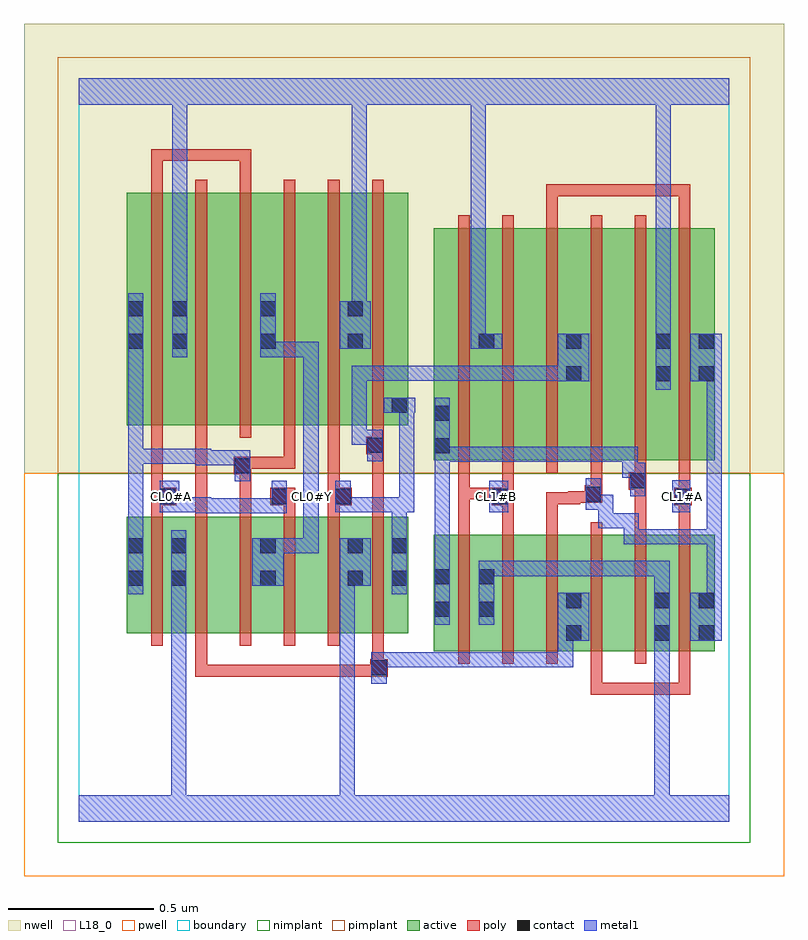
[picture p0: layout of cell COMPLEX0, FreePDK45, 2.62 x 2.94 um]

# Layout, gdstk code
import gdstk
lib = gdstk.Library(unit=1e-6, precision=1e-09)
def R(c, l, rs):  # rectangles x0, y0, x1, y1
    for r in rs: c.add(gdstk.rectangle(r[:2], r[2:], *l))
def A(c, l, x, y, w, h, nx, ny, dx, dy):  # array of equal rectangles
    R(c, l, [(x+i*dx, y+j*dy, x+i*dx+w, y+j*dy+h) for i in range(nx) for j in range(ny)])
active = (1, 0)
pwell = (2, 0)
nwell = (3, 0)
nimplant = (4, 0)
pimplant = (5, 0)
poly = (9, 0)
contact = (10, 0)
metal1 = (11, 0)
L18_0 = (18, 0)
boundary = (235, 0)

complex0 = lib.new_cell('COMPLEX0')
R(complex0, active, [(1.222,0.588,1.282,0.988), (1.222,0.588,1.434,0.988), (1.374,0.588,1.434,0.988), (1.374,0.588,1.554,0.988), (1.554,0.588,1.734,0.988), (1.674,0.588,1.734,0.988), (1.674,0.588,1.858,0.988), (1.858,0.588,2.038,0.988), (1.978,0.588,2.038,0.988), (1.978,0.588,2.19,0.988), (2.13,0.588,2.19,0.988), (0.166,0.65,0.226,1.05), (0.166,0.65,0.374,1.05), (0.314,0.65,0.374,1.05), (0.314,0.65,0.498,1.05), (0.498,0.65,0.682,1.05), (0.622,0.65,0.682,1.05), (0.622,0.65,0.802,1.05), (0.802,0.65,0.982,1.05), (0.922,0.65,0.982,1.05), (0.922,0.65,1.134,1.05), (1.074,0.756,1.134,1.05), (1.222,1.244,1.282,2.044), (1.222,1.244,1.434,2.044), (1.374,1.244,1.554,2.044), (1.554,1.244,1.734,2.044), (1.674,1.244,1.734,2.044), (1.674,1.244,1.858,2.044), (1.858,1.244,2.042,2.044), (1.982,1.244,2.042,2.044), (1.982,1.244,2.19,2.044), (2.13,1.244,2.19,2.044), (0.166,1.366,0.226,2.166), (0.166,1.366,0.378,2.166), (0.318,1.366,0.498,2.166), (0.318,1.366,0.378,2.044), (0.498,1.366,0.682,2.166), (0.622,1.366,0.802,2.166), (0.622,1.366,0.682,2.044), (0.802,1.366,0.982,2.166), (0.922,1.366,1.134,2.166), (0.922,1.366,0.982,2.044), (1.074,1.366,1.134,2.044), (1.374,1.58,1.434,2.044)])
R(complex0, pwell, [(-0.188,-0.188,2.428,1.2)])
R(complex0, nwell, [(-0.188,1.2,2.428,2.748)])
R(complex0, nimplant, [(-0.072,-0.072,2.312,1.2)])
R(complex0, pimplant, [(-0.072,1.2,2.312,2.632)])
A(complex0, poly, 1.306, 0.544, 0.04, 0.488, 6, 1, 0.152, 0)
A(complex0, poly, 0.25, 0.606, 0.04, 0.488, 6, 1, 0.152, 0)
A(complex0, poly, 1.306, 1.2, 0.04, 0.888, 6, 1, 0.152, 0)
A(complex0, poly, 0.25, 1.322, 0.04, 0.888, 6, 1, 0.152, 0)
R(complex0, poly, [(1.762,0.438,1.802,0.584), (1.762,0.438,1.802,0.478), (1.762,0.438,1.984,0.478), (1.944,0.438,1.984,0.478), (1.944,0.438,1.984,0.478), (1.944,0.438,1.984,0.478), (1.944,0.438,2.106,0.478), (2.066,0.438,2.106,0.584), (2.066,0.438,2.106,0.478), (2.066,0.438,2.106,0.478), (2.066,0.438,2.106,0.478), (0.402,0.5,0.442,0.646), (0.402,0.5,0.442,0.54), (0.402,0.5,0.442,0.54), (0.402,0.5,0.442,0.54), (0.402,0.5,0.548,0.54), (0.508,0.5,0.548,0.54), (0.508,0.5,0.792,0.54), (0.752,0.5,0.792,0.54), (0.752,0.5,0.792,0.54), (0.752,0.5,0.792,0.54), (0.752,0.5,0.924,0.54), (0.884,0.5,0.924,0.54), (0.884,0.5,0.924,0.54), (0.884,0.5,0.924,0.54), (0.884,0.5,1.044,0.54), (1.004,0.5,1.044,0.54), (1.004,0.5,1.044,0.54), (1.004,0.5,1.064,0.56), (1.01,0.52,1.05,0.646), (1.306,0.992,1.346,1.15), (1.458,0.992,1.498,1.13), (1.61,0.992,1.65,1.134), (1.914,0.992,1.954,1.184), (2.066,0.992,2.106,1.13), (0.25,1.054,0.29,1.13), (0.402,1.054,0.442,1.326), (0.554,1.054,0.594,1.236), (0.706,1.054,0.746,1.13), (0.858,1.054,0.898,1.13), (1.01,1.054,1.05,1.306), (0.25,1.09,0.336,1.15), (0.66,1.09,0.746,1.15), (0.858,1.09,0.94,1.15), (1.422,1.09,1.498,1.15), (2.05,1.09,2.11,1.15), (2.066,1.09,2.106,1.13), (2.066,1.09,2.106,1.13), (1.61,1.094,1.65,1.134), (1.61,1.094,1.726,1.134), (1.686,1.094,1.726,1.138), (1.686,1.098,1.782,1.138), (1.742,1.098,1.802,1.158), (0.25,1.11,0.29,1.15), (0.25,1.11,0.29,1.15), (0.25,1.11,0.29,1.362), (0.858,1.11,0.898,1.15), (0.858,1.11,0.898,1.15), (0.858,1.11,0.898,1.362), (1.306,1.11,1.346,1.15), (1.306,1.11,1.346,1.15), (1.306,1.11,1.346,1.15), (1.306,1.11,1.346,1.24), (1.306,1.11,1.462,1.15), (1.422,1.11,1.462,1.15), (1.422,1.11,1.462,1.15), (1.458,1.11,1.498,1.15), (1.458,1.11,1.498,1.15), (1.458,1.11,1.498,1.24), (2.066,1.11,2.106,1.24), (1.762,1.118,1.802,1.158), (1.762,1.118,1.802,1.158), (1.762,1.118,1.802,1.24), (1.894,1.144,1.954,1.204), (1.914,1.144,1.954,1.184), (1.914,1.144,1.954,1.184), (1.914,1.164,1.954,1.24), (0.534,1.196,0.594,1.256), (0.554,1.196,0.594,1.236), (0.554,1.196,0.594,1.236), (0.554,1.216,0.746,1.256), (0.706,1.216,0.746,1.362), (0.706,1.216,0.746,1.256), (0.706,1.216,0.746,1.256), (0.706,1.216,0.746,1.256), (0.99,1.266,1.05,1.326), (1.01,1.266,1.05,1.306), (1.01,1.266,1.05,1.306), (0.402,1.286,0.442,1.326), (0.402,1.286,0.442,1.326), (0.402,1.286,0.442,1.326), (0.402,1.286,0.442,1.362), (1.01,1.286,1.05,1.362), (1.61,2.048,1.65,2.194), (2.066,2.048,2.106,2.194), (1.61,2.154,1.65,2.194), (1.61,2.154,1.65,2.194), (1.61,2.154,1.65,2.194), (1.61,2.154,1.828,2.194), (1.788,2.154,1.828,2.194), (1.788,2.154,1.984,2.194), (1.944,2.154,1.984,2.194), (1.944,2.154,1.984,2.194), (1.944,2.154,1.984,2.194), (1.944,2.154,2.106,2.194), (2.066,2.154,2.106,2.194), (2.066,2.154,2.106,2.194), (2.066,2.154,2.106,2.194), (0.25,2.17,0.29,2.316), (0.554,2.17,0.594,2.316), (0.25,2.276,0.29,2.316), (0.25,2.276,0.29,2.316), (0.25,2.276,0.29,2.316), (0.25,2.276,0.396,2.316), (0.356,2.276,0.396,2.316), (0.356,2.276,0.594,2.316), (0.554,2.276,0.594,2.316), (0.554,2.276,0.594,2.316), (0.554,2.276,0.594,2.316)])
R(complex0, contact, [(1.008,0.504,1.06,0.556), (1.678,0.624,1.73,0.676), (1.982,0.624,2.034,0.676), (2.134,0.624,2.186,0.676), (1.226,0.706,1.278,0.758), (1.378,0.706,1.43,0.758), (1.678,0.736,1.73,0.788), (1.982,0.736,2.034,0.788), (2.134,0.736,2.186,0.788), (0.17,0.812,0.222,0.864), (0.318,0.812,0.37,0.864), (0.626,0.812,0.678,0.864), (0.926,0.812,0.978,0.864), (1.078,0.812,1.13,0.864), (1.226,0.818,1.278,0.87), (1.378,0.818,1.43,0.87), (0.17,0.924,0.222,0.976), (0.318,0.924,0.37,0.976), (0.626,0.924,0.678,0.976), (0.926,0.924,0.978,0.976), (1.078,0.924,1.13,0.976), (0.28,1.094,0.332,1.146), (0.664,1.094,0.716,1.146), (0.884,1.094,0.936,1.146), (1.426,1.094,1.478,1.146), (2.054,1.094,2.106,1.146), (1.746,1.102,1.798,1.154), (1.898,1.148,1.95,1.2), (0.538,1.2,0.59,1.252), (1.226,1.268,1.278,1.32), (0.994,1.27,1.046,1.322), (1.226,1.38,1.278,1.432), (1.078,1.408,1.13,1.46), (1.678,1.516,1.73,1.568), (1.986,1.516,2.038,1.568), (2.134,1.516,2.186,1.568), (0.17,1.628,0.222,1.68), (0.322,1.628,0.374,1.68), (0.626,1.628,0.678,1.68), (0.926,1.628,0.978,1.68), (1.378,1.628,1.43,1.68), (1.678,1.628,1.73,1.68), (1.986,1.628,2.038,1.68), (2.134,1.628,2.186,1.68), (0.17,1.74,0.222,1.792), (0.322,1.74,0.374,1.792), (0.626,1.74,0.678,1.792), (0.926,1.74,0.978,1.792)])
A(complex0, metal1, 0.664, 1.066, 0.052, 0.108, 3, 1, 0.11, 0)
R(complex0, metal1, [(0,0,2.24,0.092), (0.318,0.04,0.37,0.092), (0.318,0.04,0.37,0.092), (0.318,0.04,0.37,0.092), (0.318,0.04,0.37,0.092), (0.318,0.04,0.37,0.092), (0.318,0.04,0.37,0.092), (0.318,0.04,0.37,0.092), (0.318,0.04,0.37,0.092), (0.318,0.04,0.37,0.092), (0.318,0.04,0.37,0.092), (0.318,0.04,0.37,0.092), (0.318,0.04,0.37,0.092), (0.318,0.04,0.37,0.836), (0.898,0.04,0.95,0.092), (0.898,0.04,0.95,0.092), (0.898,0.04,0.95,0.092), (0.898,0.04,0.95,0.092), (0.898,0.04,0.95,0.092), (0.898,0.04,0.95,0.092), (0.898,0.04,0.95,0.092), (0.898,0.04,0.95,0.092), (0.898,0.04,0.95,0.092), (0.898,0.04,0.95,0.092), (0.898,0.04,0.95,0.092), (0.898,0.04,0.95,0.092), (0.898,0.04,0.95,0.864), (1.982,0.04,2.034,0.648), (1.008,0.476,1.06,0.584), (1.008,0.532,1.158,0.584), (1.106,0.532,1.158,0.584), (1.106,0.532,1.268,0.584), (1.216,0.532,1.268,0.584), (1.216,0.532,1.268,0.584), (1.216,0.532,1.268,0.584), (1.216,0.532,1.43,0.584), (1.378,0.532,1.43,0.584), (1.378,0.532,1.43,0.584), (1.378,0.532,1.43,0.584), (1.378,0.532,1.54,0.584), (1.488,0.532,1.54,0.584), (1.488,0.532,1.54,0.584), (1.488,0.532,1.54,0.584), (1.488,0.532,1.702,0.584), (1.65,0.532,1.702,0.584), (1.65,0.532,1.702,0.676), (1.982,0.596,2.034,0.648), (1.982,0.596,2.034,0.648), (1.982,0.596,2.034,0.648), (1.982,0.596,2.034,0.648), (1.982,0.596,2.034,0.648), (1.982,0.596,2.034,0.648), (1.982,0.596,2.034,0.648), (1.982,0.596,2.034,0.648), (1.982,0.596,2.034,0.648), (1.982,0.596,2.034,0.648), (1.982,0.596,2.034,0.648), (1.982,0.596,2.034,0.648), (1.982,0.596,2.034,0.816), (1.65,0.624,1.758,0.788), (2.106,0.624,2.214,0.788), (1.226,0.678,1.278,0.898), (1.378,0.678,1.43,0.898), (2.162,0.736,2.214,1.008), (1.982,0.764,2.034,0.816), (1.982,0.764,2.034,0.816), (1.982,0.764,2.034,0.816), (1.982,0.764,2.034,0.816), (1.982,0.764,2.034,0.898), (0.17,0.784,0.222,1.004), (0.318,0.784,0.37,1.004), (1.078,0.784,1.13,1.004), (0.598,0.812,0.706,0.976), (0.898,0.812,1.006,0.976), (1.226,0.846,1.278,1.292), (1.378,0.846,1.43,0.898), (1.378,0.846,1.43,0.898), (1.378,0.846,1.588,0.898), (1.536,0.846,1.588,0.898), (1.536,0.846,1.588,0.898), (1.536,0.846,1.588,0.898), (1.536,0.846,1.73,0.898), (1.678,0.846,1.73,0.898), (1.678,0.846,1.73,0.898), (1.678,0.846,1.73,0.898), (1.678,0.846,1.924,0.898), (1.872,0.846,1.924,0.898), (1.872,0.846,1.924,0.898), (1.872,0.846,1.924,0.898), (1.872,0.846,2.034,0.898), (1.982,0.846,2.034,0.898), (0.654,0.924,0.706,0.976), (0.654,0.924,0.706,0.976), (0.654,0.924,0.826,0.976), (0.774,0.924,0.826,0.976), (0.774,0.924,0.826,1.118), (0.17,0.952,0.222,1.004), (0.17,0.952,0.222,1.004), (0.17,0.952,0.222,1.284), (1.078,0.952,1.13,1.118), (1.876,0.956,2.048,1.008), (1.876,0.956,1.928,1.062), (1.996,0.956,2.048,1.008), (1.996,0.956,2.214,1.008), (2.162,0.956,2.214,1.568), (2.162,0.956,2.214,1.008), (2.162,0.956,2.214,1.008), (2.162,0.956,2.214,1.008), (2.162,0.956,2.214,1.008), (2.162,0.956,2.214,1.008), (1.788,1.01,1.84,1.126), (1.788,1.01,1.928,1.062), (0.404,1.062,0.456,1.114), (0.404,1.062,0.456,1.114), (0.404,1.062,0.566,1.114), (0.404,1.062,0.456,1.118), (0.514,1.062,0.566,1.114), (0.514,1.062,0.716,1.114), (0.664,1.062,0.716,1.118), (0.28,1.066,0.346,1.174), (0.294,1.066,0.346,1.118), (0.294,1.066,0.346,1.118), (0.294,1.066,0.456,1.118), (0.664,1.066,0.716,1.118), (0.884,1.066,0.936,1.118), (0.884,1.066,0.936,1.118), (0.884,1.066,1.13,1.118), (1.078,1.066,1.13,1.118), (1.078,1.066,1.13,1.118), (1.078,1.066,1.156,1.118), (1.104,1.066,1.156,1.118), (1.104,1.066,1.156,1.118), (1.104,1.066,1.156,1.46), (1.414,1.066,1.478,1.174), (2.044,1.066,2.106,1.176), (1.746,1.074,1.798,1.182), (1.746,1.074,1.84,1.126), (1.898,1.12,1.95,1.236), (0.774,1.122,0.826,1.652), (0.538,1.172,0.59,1.28), (1.872,1.184,1.95,1.236), (1.872,1.184,1.924,1.292), (0.404,1.228,0.456,1.284), (0.404,1.228,0.59,1.28), (0.17,1.232,0.222,1.284), (0.17,1.232,0.222,1.284), (0.17,1.232,0.222,1.284), (0.17,1.232,0.332,1.284), (0.17,1.232,0.222,1.652), (0.28,1.232,0.332,1.284), (0.28,1.232,0.456,1.284), (0.404,1.232,0.456,1.284), (0.404,1.232,0.456,1.284), (1.226,1.24,1.278,1.292), (1.226,1.24,1.278,1.292), (1.226,1.24,1.278,1.292), (1.226,1.24,1.278,1.292), (1.226,1.24,1.278,1.292), (1.226,1.24,1.278,1.292), (1.226,1.24,1.278,1.46), (1.226,1.24,1.388,1.292), (1.336,1.24,1.388,1.292), (1.336,1.24,1.388,1.292), (1.336,1.24,1.388,1.292), (1.336,1.24,1.55,1.292), (1.498,1.24,1.55,1.292), (1.498,1.24,1.55,1.292), (1.498,1.24,1.55,1.292), (1.498,1.24,1.73,1.292), (1.678,1.24,1.73,1.292), (1.678,1.24,1.73,1.292), (1.678,1.24,1.73,1.292), (1.678,1.24,1.924,1.292), (0.994,1.242,1.046,1.35), (0.94,1.298,0.992,1.35), (0.94,1.298,0.992,1.57), (0.94,1.298,1.046,1.35), (1.05,1.408,1.158,1.46), (1.986,1.488,2.038,1.708), (1.65,1.516,1.758,1.68), (2.106,1.516,2.214,1.68), (0.94,1.518,0.992,1.57), (0.94,1.518,0.992,1.57), (0.94,1.518,0.992,1.57), (0.94,1.518,1.116,1.57), (1.064,1.518,1.116,1.57), (1.064,1.518,1.116,1.57), (1.064,1.518,1.116,1.57), (1.064,1.518,1.268,1.57), (1.216,1.518,1.268,1.57), (1.216,1.518,1.268,1.57), (1.216,1.518,1.268,1.57), (1.216,1.518,1.43,1.57), (1.378,1.518,1.43,1.57), (1.378,1.518,1.43,1.57), (1.378,1.518,1.43,1.57), (1.378,1.518,1.43,1.57), (1.378,1.518,1.43,1.57), (1.378,1.518,1.592,1.57), (1.54,1.518,1.592,1.57), (1.54,1.518,1.592,1.57), (1.54,1.518,1.592,1.57), (1.54,1.518,1.702,1.57), (0.17,1.6,0.222,1.82), (0.322,1.6,0.374,1.82), (0.626,1.6,0.678,1.82), (0.626,1.6,0.826,1.652), (0.774,1.6,0.826,1.652), (0.774,1.6,0.826,1.652), (0.774,1.6,0.826,1.652), (0.774,1.6,0.826,1.652), (0.774,1.6,0.826,1.652), (0.898,1.628,1.006,1.792), (1.35,1.628,1.402,2.52), (1.35,1.628,1.458,1.68), (1.986,1.656,2.038,1.708), (1.986,1.656,2.038,1.708), (1.986,1.656,2.038,1.708), (1.986,1.656,2.038,1.708), (1.986,1.656,2.038,1.708), (1.986,1.656,2.038,1.708), (1.986,1.656,2.038,1.708), (1.986,1.656,2.038,1.708), (1.986,1.656,2.038,2.52), (0.94,1.74,0.992,2.52), (0.322,1.768,0.374,2.52), (0,2.468,2.24,2.56), (0.322,2.468,0.374,2.52), (0.322,2.468,0.374,2.52), (0.322,2.468,0.374,2.52), (0.322,2.468,0.374,2.52), (0.322,2.468,0.374,2.52), (0.322,2.468,0.374,2.52), (0.322,2.468,0.374,2.52), (0.322,2.468,0.374,2.52), (0.94,2.468,0.992,2.52), (0.94,2.468,0.992,2.52), (0.94,2.468,0.992,2.52), (0.94,2.468,0.992,2.52), (0.94,2.468,0.992,2.52), (0.94,2.468,0.992,2.52), (0.94,2.468,0.992,2.52), (0.94,2.468,0.992,2.52), (1.35,2.468,1.402,2.52), (1.35,2.468,1.402,2.52), (1.35,2.468,1.402,2.52), (1.35,2.468,1.402,2.52), (1.35,2.468,1.402,2.52), (1.35,2.468,1.402,2.52), (1.35,2.468,1.402,2.52), (1.35,2.468,1.402,2.52)])
A(complex0, L18_0, 0.774, 1.094, 0.052, 0.052, 3, 1, 0.64, 0)
R(complex0, L18_0, [(0,0,2.24,0.092), (0.318,0.04,0.37,0.092), (0.318,0.04,0.37,0.092), (0.318,0.04,0.37,0.092), (0.318,0.04,0.37,0.092), (0.318,0.04,0.37,0.092), (0.318,0.04,0.37,0.092), (0.318,0.04,0.37,0.092), (0.318,0.04,0.37,0.092), (0.318,0.04,0.37,0.092), (0.318,0.04,0.37,0.092), (0.318,0.04,0.37,0.092), (0.318,0.04,0.37,0.092), (0.318,0.04,0.37,0.836), (0.898,0.04,0.95,0.092), (0.898,0.04,0.95,0.092), (0.898,0.04,0.95,0.092), (0.898,0.04,0.95,0.092), (0.898,0.04,0.95,0.092), (0.898,0.04,0.95,0.092), (0.898,0.04,0.95,0.092), (0.898,0.04,0.95,0.092), (0.898,0.04,0.95,0.092), (0.898,0.04,0.95,0.092), (0.898,0.04,0.95,0.092), (0.898,0.04,0.95,0.092), (0.898,0.04,0.95,0.864), (1.982,0.04,2.034,0.648), (1.982,0.596,2.034,0.648), (1.982,0.596,2.034,0.648), (1.982,0.596,2.034,0.648), (1.982,0.596,2.034,0.648), (1.982,0.596,2.034,0.648), (1.982,0.596,2.034,0.648), (1.982,0.596,2.034,0.648), (1.982,0.596,2.034,0.648), (1.982,0.596,2.034,0.648), (1.982,0.596,2.034,0.648), (1.982,0.596,2.034,0.648), (1.982,0.596,2.034,0.648), (1.982,0.596,2.034,0.816), (1.378,0.678,1.43,0.898), (1.982,0.764,2.034,0.816), (1.982,0.764,2.034,0.816), (1.982,0.764,2.034,0.816), (1.982,0.764,2.034,0.816), (1.982,0.764,2.034,0.898), (0.318,0.784,0.37,1.004), (0.598,0.812,0.706,0.976), (0.898,0.812,1.006,0.976), (1.378,0.846,1.43,0.898), (1.378,0.846,1.43,0.898), (1.378,0.846,1.588,0.898), (1.536,0.846,1.588,0.898), (1.536,0.846,1.588,0.898), (1.536,0.846,1.588,0.898), (1.536,0.846,1.73,0.898), (1.678,0.846,1.73,0.898), (1.678,0.846,1.73,0.898), (1.678,0.846,1.73,0.898), (1.678,0.846,1.924,0.898), (1.872,0.846,1.924,0.898), (1.872,0.846,1.924,0.898), (1.872,0.846,1.924,0.898), (1.872,0.846,2.034,0.898), (1.982,0.846,2.034,0.898), (0.654,0.924,0.706,0.976), (0.654,0.924,0.706,0.976), (0.654,0.924,0.826,0.976), (0.774,0.924,0.826,0.976), (0.774,0.924,0.826,1.118), (0.404,1.062,0.456,1.114), (0.404,1.062,0.456,1.114), (0.404,1.062,0.456,1.118), (0.404,1.062,0.566,1.114), (0.514,1.062,0.566,1.114), (0.514,1.062,0.716,1.114), (0.664,1.062,0.716,1.118), (0.28,1.066,0.346,1.174), (0.294,1.066,0.346,1.118), (0.294,1.066,0.346,1.118), (0.294,1.066,0.456,1.118), (0.664,1.066,0.716,1.118), (0.664,1.066,0.716,1.174), (0.774,1.066,0.826,1.174), (1.414,1.066,1.478,1.174), (2.044,1.066,2.106,1.176), (0.294,1.094,0.346,1.146), (0.774,1.122,0.826,1.652), (1.986,1.488,2.038,1.708), (0.322,1.6,0.374,1.82), (0.626,1.6,0.678,1.82), (0.626,1.6,0.826,1.652), (0.774,1.6,0.826,1.652), (0.774,1.6,0.826,1.652), (0.774,1.6,0.826,1.652), (0.774,1.6,0.826,1.652), (0.774,1.6,0.826,1.652), (0.898,1.628,1.006,1.792), (1.35,1.628,1.458,1.68), (1.35,1.628,1.402,2.52), (1.986,1.656,2.038,1.708), (1.986,1.656,2.038,1.708), (1.986,1.656,2.038,1.708), (1.986,1.656,2.038,1.708), (1.986,1.656,2.038,1.708), (1.986,1.656,2.038,1.708), (1.986,1.656,2.038,1.708), (1.986,1.656,2.038,1.708), (1.986,1.656,2.038,2.52), (0.94,1.74,0.992,2.52), (0.322,1.768,0.374,2.52), (0,2.468,2.24,2.56), (0.322,2.468,0.374,2.52), (0.322,2.468,0.374,2.52), (0.322,2.468,0.374,2.52), (0.322,2.468,0.374,2.52), (0.322,2.468,0.374,2.52), (0.322,2.468,0.374,2.52), (0.322,2.468,0.374,2.52), (0.322,2.468,0.374,2.52), (0.94,2.468,0.992,2.52), (0.94,2.468,0.992,2.52), (0.94,2.468,0.992,2.52), (0.94,2.468,0.992,2.52), (0.94,2.468,0.992,2.52), (0.94,2.468,0.992,2.52), (0.94,2.468,0.992,2.52), (0.94,2.468,0.992,2.52), (1.35,2.468,1.402,2.52), (1.35,2.468,1.402,2.52), (1.35,2.468,1.402,2.52), (1.35,2.468,1.402,2.52), (1.35,2.468,1.402,2.52), (1.35,2.468,1.402,2.52), (1.35,2.468,1.402,2.52), (1.35,2.468,1.402,2.52)])
R(complex0, boundary, [(0,0,2.24,2.56)])
complex0.add(gdstk.Label('CL0#A', (0.32,1.12), layer=11, texttype=0))
complex0.add(gdstk.Label('CL0#Y', (0.8,1.12), layer=11, texttype=0))
complex0.add(gdstk.Label('CL1#A', (2.08,1.12), layer=11, texttype=0))
complex0.add(gdstk.Label('CL1#B', (1.44,1.12), layer=11, texttype=0))

lib.write_gds('COMPLEX0.gds')
